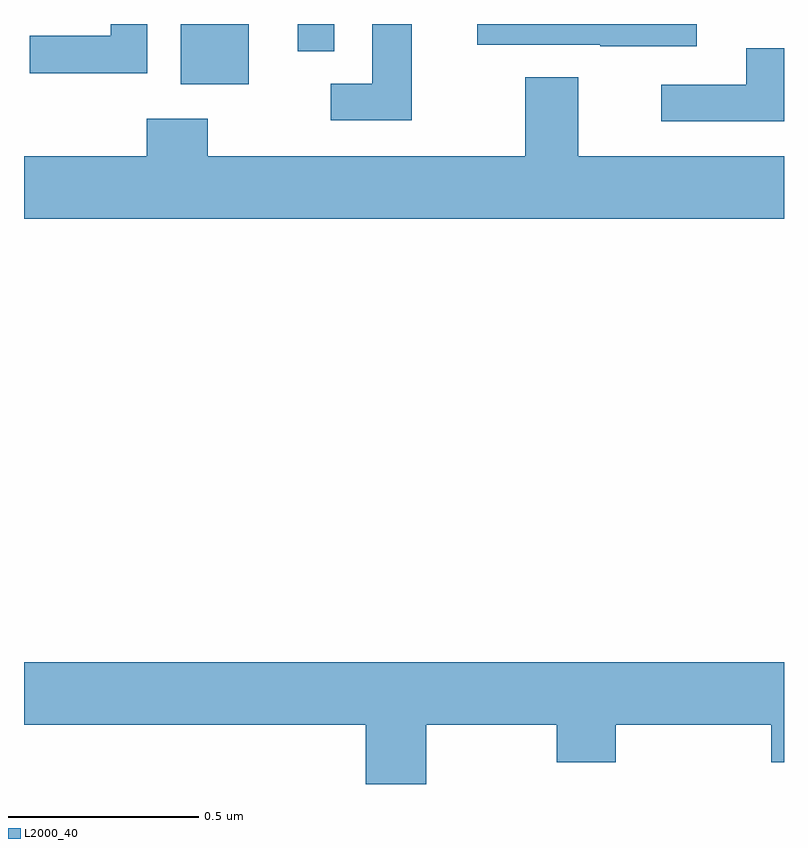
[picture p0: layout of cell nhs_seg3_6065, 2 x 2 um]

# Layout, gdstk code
import gdstk
lib = gdstk.Library(unit=1e-6, precision=1e-09)
def R(c, l, rs):  # rectangles x0, y0, x1, y1
    for r in rs: c.add(gdstk.rectangle(r[:2], r[2:], *l))
def P(c, l, *ps):  # polygons
    for p in ps: c.add(gdstk.Polygon(p, *l))
L2000_40 = (2000, 40)

nhs_seg3_6065 = lib.new_cell('nhs_seg3_6065')
R(nhs_seg3_6065, L2000_40, [(186.413,729.242,186.592,729.4), (186.72,729.328,186.816,729.4)])
P(nhs_seg3_6065, L2000_40, [(187.771,729.4),(187.193,729.4),(187.193,729.345),(187.517,729.345),(187.517,729.341),(187.771,729.341)],
  [(187.021,729.4),(186.917,729.4),(186.917,729.243),(186.807,729.243),(186.807,729.147),(187.021,729.147)],
  [(186.324,729.4),(186.228,729.4),(186.228,729.369),(186.015,729.369),(186.015,729.271),(186.324,729.271)],
  [(188,729.336),(187.901,729.336),(187.901,729.24),(187.677,729.24),(187.677,729.144),(188,729.144)],
  [(188,729.052),(187.459,729.052),(187.459,729.26),(187.319,729.26),(187.319,729.052),(186.483,729.052),(186.483,729.151),(186.323,729.151),(186.323,729.052),(186,729.052),(186,728.888),(188,728.888)],
  [(187.059,727.556),(187.402,727.556),(187.402,727.457),(187.557,727.457),(187.557,727.556),(187.966,727.556),(187.966,727.457),(188,727.457),(188,727.72),(186,727.72),(186,727.556),(186.899,727.556),(186.899,727.4),(187.059,727.4)])

lib.write_gds('nhs_seg3_6065.gds')
